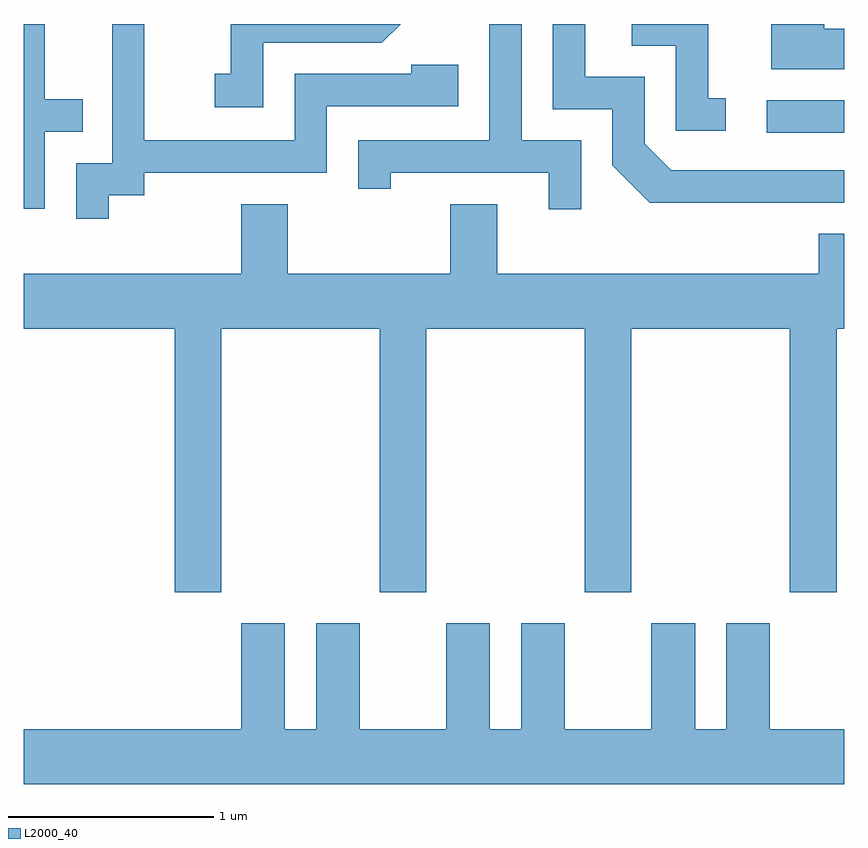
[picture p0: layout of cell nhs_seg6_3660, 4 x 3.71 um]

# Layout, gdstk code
import gdstk
lib = gdstk.Library(unit=1e-6, precision=1e-09)
def R(c, l, rs):  # rectangles x0, y0, x1, y1
    for r in rs: c.add(gdstk.rectangle(r[:2], r[2:], *l))
def P(c, l, *ps):  # polygons
    for p in ps: c.add(gdstk.Polygon(p, *l))
L2000_40 = (2000, 40)

nhs_seg6_3660 = lib.new_cell('nhs_seg6_3660')
R(nhs_seg6_3660, L2000_40, [(299.233,1577.631,299.611,1577.789)])
P(nhs_seg6_3660, L2000_40, [(299.611,1577.449),(298.767,1577.449),(298.639,1577.577),(298.639,1577.904),(298.349,1577.904),(298.349,1578.162),(298.191,1578.162),(298.191,1577.746),(298.481,1577.746),(298.481,1577.474),(298.664,1577.291),(299.611,1577.291)],
  [(298.329,1577.594),(298.039,1577.594),(298.039,1578.162),(297.881,1578.162),(297.881,1577.594),(297.241,1577.594),(297.241,1577.358),(297.399,1577.358),(297.399,1577.436),(298.171,1577.436),(298.171,1577.258),(298.329,1577.258)],
  [(296.779,1578.071),(297.357,1578.071),(297.448,1578.162),(296.621,1578.162),(296.621,1577.919),(296.543,1577.919),(296.543,1577.756),(296.779,1577.756)],
  [(299.033,1577.799),(298.949,1577.799),(298.949,1578.162),(298.576,1578.162),(298.576,1578.056),(298.791,1578.056),(298.791,1577.641),(299.033,1577.641)],
  [(295.714,1577.636),(295.898,1577.636),(295.898,1577.794),(295.714,1577.794),(295.714,1578.162),(295.611,1578.162),(295.611,1577.261),(295.714,1577.261)],
  [(299.611,1578.139),(299.514,1578.139),(299.514,1578.162),(299.256,1578.162),(299.256,1577.941),(299.611,1577.941)],
  [(296.024,1577.326),(296.199,1577.326),(296.199,1577.436),(297.089,1577.436),(297.089,1577.761),(297.729,1577.761),(297.729,1577.964),(297.501,1577.964),(297.501,1577.919),(296.931,1577.919),(296.931,1577.594),(296.199,1577.594),(296.199,1578.162),(296.041,1578.162),(296.041,1577.484),(295.866,1577.484),(295.866,1577.213),(296.024,1577.213)],
  [(296.574,1576.676),(297.346,1576.676),(297.346,1575.391),(297.574,1575.391),(297.574,1576.676),(298.346,1576.676),(298.346,1575.391),(298.574,1575.391),(298.574,1576.676),(299.346,1576.676),(299.346,1575.391),(299.574,1575.391),(299.574,1576.676),(299.611,1576.676),(299.611,1577.139),(299.486,1577.139),(299.486,1576.944),(297.919,1576.944),(297.919,1577.284),(297.691,1577.284),(297.691,1576.944),(296.899,1576.944),(296.899,1577.284),(296.671,1577.284),(296.671,1576.944),(295.611,1576.944),(295.611,1576.676),(296.346,1576.676),(296.346,1575.391),(296.574,1575.391)],
  [(299.611,1574.724),(299.249,1574.724),(299.249,1575.239),(299.036,1575.239),(299.036,1574.724),(298.884,1574.724),(298.884,1575.239),(298.671,1575.239),(298.671,1574.724),(298.249,1574.724),(298.249,1575.239),(298.036,1575.239),(298.036,1574.724),(297.884,1574.724),(297.884,1575.239),(297.671,1575.239),(297.671,1574.724),(297.249,1574.724),(297.249,1575.239),(297.036,1575.239),(297.036,1574.724),(296.884,1574.724),(296.884,1575.239),(296.671,1575.239),(296.671,1574.724),(295.611,1574.724),(295.611,1574.456),(299.611,1574.456)])

lib.write_gds('nhs_seg6_3660.gds')
